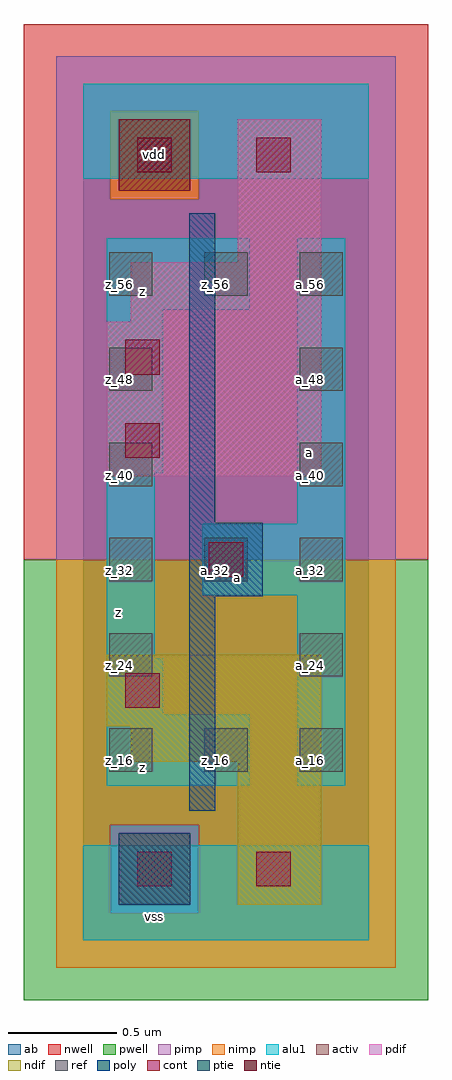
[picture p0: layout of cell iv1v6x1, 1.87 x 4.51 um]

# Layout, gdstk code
import gdstk
lib = gdstk.Library(unit=1e-6, precision=2.5e-09)
def R(c, l, rs):  # rectangles x0, y0, x1, y1
    for r in rs: c.add(gdstk.rectangle(r[:2], r[2:], *l))
def A(c, l, x, y, w, h, nx, ny, dx, dy):  # array of equal rectangles
    R(c, l, [(x+i*dx, y+j*dy, x+i*dx+w, y+j*dy+h) for i in range(nx) for j in range(ny)])
ndif = (3, 0)
pdif = (4, 0)
ntie = (5, 0)
ptie = (6, 0)
ref = (24, 0)
cont = (25, 0)
pwell = (41, 0)
nwell = (42, 0)
activ = (43, 0)
pimp = (44, 0)
nimp = (45, 0)
poly = (46, 0)
alu1 = (49, 0)
ab = (63, 0)

iv1v6x1 = lib.new_cell('iv1v6x1')
R(iv1v6x1, ndif, [(0.715,0.165,1.1,0.825), (0.22,0.825,1.1,0.99), (0.11,0.99,1.1,1.32)])
R(iv1v6x1, pdif, [(0.11,2.145,1.1,2.86), (0.22,2.86,1.1,3.135), (0.715,3.135,1.1,3.795)])
R(iv1v6x1, ntie, [(0.165,3.465,0.495,3.795)])
R(iv1v6x1, ptie, [(0.165,0.165,0.495,0.495)])
A(iv1v6x1, ref, 0.12, 0.78, 0.2, 0.2, 3, 2, 0.44, 0.88)
A(iv1v6x1, ref, 0.12, 2.98, 0.2, 0.2, 3, 1, 0.44, 0)
R(iv1v6x1, ref, [(0.12,1.22,0.32,1.42), (1,1.22,1.2,1.42), (0.12,2.1,0.32,2.3), (1,2.1,1.2,2.3), (0.12,2.54,0.32,2.74), (1,2.54,1.2,2.74)])
R(iv1v6x1, cont, [(0.25,0.25,0.41,0.41), (0.8,0.25,0.96,0.41), (0.195,1.075,0.355,1.235), (0.58,1.68,0.74,1.84), (0.195,2.23,0.355,2.39), (0.195,2.615,0.355,2.775), (0.25,3.55,0.41,3.71), (0.8,3.55,0.96,3.71)])
R(iv1v6x1, pwell, [(-0.275,-0.275,1.595,1.76)])
R(iv1v6x1, nwell, [(-0.275,1.76,1.595,4.235)])
R(iv1v6x1, activ, [(0.165,0.165,0.495,0.495), (0.715,0.165,1.1,0.825), (0.22,0.825,1.1,0.99), (0.11,0.99,1.1,1.32), (0.11,2.145,1.1,2.86), (0.22,2.86,1.1,3.135), (0.715,3.135,1.1,3.795), (0.165,3.465,0.495,3.795)])
R(iv1v6x1, pimp, [(0.125,0.125,0.535,0.535), (-0.125,1.76,1.445,3.425), (-0.125,3.425,0.125,3.835), (0.535,3.425,1.445,3.835), (-0.125,3.835,1.445,4.085)])
R(iv1v6x1, nimp, [(-0.125,-0.125,1.445,0.125), (-0.125,0.125,0.125,0.535), (0.535,0.125,1.445,0.535), (-0.125,0.535,1.445,1.76), (0.125,3.425,0.535,3.835)])
R(iv1v6x1, poly, [(0.49,0.6,0.61,1.59), (0.49,1.59,0.83,1.93), (0.49,1.93,0.61,3.36)])
R(iv1v6x1, alu1, [(0,0,1.32,0.44), (0.11,0.715,0.77,1.045), (0.99,0.715,1.21,1.595), (0.11,1.045,0.37,1.305), (0.11,1.305,0.33,2.16), (0.55,1.595,1.21,1.925), (0.99,1.925,1.21,3.245), (0.11,2.16,0.37,2.915), (0.11,2.915,0.77,3.245), (0,3.52,1.32,3.96)])
R(iv1v6x1, ab, [(0,0,1.32,3.96)])
iv1v6x1.add(gdstk.Label('vss', (0.33,0.11), layer=49, texttype=0))
iv1v6x1.add(gdstk.Label('z', (0.275,0.7975), layer=49, texttype=0))
iv1v6x1.add(gdstk.Label('a', (0.715,1.6775), layer=49, texttype=0))
iv1v6x1.add(gdstk.Label('a', (1.045,2.255), layer=49, texttype=0))
iv1v6x1.add(gdstk.Label('z', (0.165,1.5175), layer=49, texttype=0))
iv1v6x1.add(gdstk.Label('z', (0.275,2.9975), layer=49, texttype=0))
iv1v6x1.add(gdstk.Label('vdd', (0.33,3.63), layer=49, texttype=0))
iv1v6x1.add(gdstk.Label('z_16', (0.61,0.83), layer=24, texttype=0))
iv1v6x1.add(gdstk.Label('a_32', (0.61,1.71), layer=24, texttype=0))
iv1v6x1.add(gdstk.Label('z_56', (0.61,3.03), layer=24, texttype=0))
iv1v6x1.add(gdstk.Label('a_16', (1.05,0.83), layer=24, texttype=0))
iv1v6x1.add(gdstk.Label('a_24', (1.05,1.27), layer=24, texttype=0))
iv1v6x1.add(gdstk.Label('a_32', (1.05,1.71), layer=24, texttype=0))
iv1v6x1.add(gdstk.Label('a_40', (1.05,2.15), layer=24, texttype=0))
iv1v6x1.add(gdstk.Label('a_48', (1.05,2.59), layer=24, texttype=0))
iv1v6x1.add(gdstk.Label('a_56', (1.05,3.03), layer=24, texttype=0))
iv1v6x1.add(gdstk.Label('z_16', (0.17,0.83), layer=24, texttype=0))
iv1v6x1.add(gdstk.Label('z_24', (0.17,1.27), layer=24, texttype=0))
iv1v6x1.add(gdstk.Label('z_32', (0.17,1.71), layer=24, texttype=0))
iv1v6x1.add(gdstk.Label('z_40', (0.17,2.15), layer=24, texttype=0))
iv1v6x1.add(gdstk.Label('z_48', (0.17,2.59), layer=24, texttype=0))
iv1v6x1.add(gdstk.Label('z_56', (0.17,3.03), layer=24, texttype=0))

lib.write_gds('iv1v6x1.gds')
